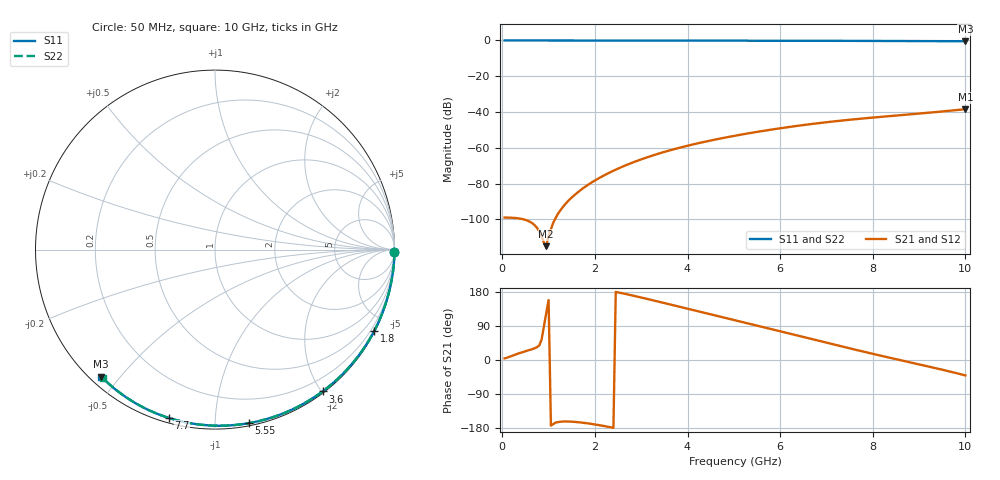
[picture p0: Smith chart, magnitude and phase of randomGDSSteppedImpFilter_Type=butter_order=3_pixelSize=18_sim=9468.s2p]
! freq	dB(S11)	phase(S11)	dB(S12)	phase(S12)
!  dB(S21)	phase(S21)	dB(S22)	phase(S22)
!S-par simulation data
#  GHz  S  DB  R 50
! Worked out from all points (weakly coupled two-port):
!   200 points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, 50 MHz to 10 GHz, reference 50 ohm
!   highest |S21| = -38.42 dB at 10 GHz (marker M1); lowest = -114.9 dB at 950 MHz (marker M2)
!   lowest |S11| = -0.4 dB at 10 GHz (marker M3), VSWR 39.16, Z = 1.53 - j22.3 ohm
!   |S11| at or under -10 dB: nowhere
!   |S22| runs from -0.4 to 0.0 dB; largest |S21 - S12| = 0
!   S11 on the Smith chart (normalised r, x): 50 MHz: open; 1.8 GHz: 0.04, -4.16; 3.6 GHz: 0.02, -2.01; 5.55 GHz: 0.02, -1.21; 7.7 GHz: 0.02, -0.76; 10 GHz: 0.03, -0.45
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0.05  -0.00 -0.8  -98.95 4.2  -98.95 4.2  -0.00 -0.8
0.5  -0.01 -7.6  -100.26 23.1  -100.26 23.1  -0.01 -7.6
0.95  -0.02 -14.4  -114.95 124.7  -114.95 124.7  -0.02 -14.3
1.75  -0.03 -26.3  -82.46 -165.7  -82.46 -165.7  -0.03 -26.1
1.8  -0.03 -27.0  -81.55 -166.5  -81.55 -166.5  -0.03 -26.9
1.9  -0.04 -28.5  -79.84 -168.2  -79.84 -168.2  -0.04 -28.3
2.05  -0.04 -30.7  -77.49 -171.1  -77.49 -171.1  -0.04 -30.5
2.25  -0.04 -33.6  -74.68 -175.4  -74.68 -175.4  -0.04 -33.4
2.65  -0.05 -39.4  -69.92 174.6  -69.92 174.6  -0.05 -39.2
3  -0.06 -44.4  -66.43 164.9  -66.43 164.9  -0.06 -44.1
3.4  -0.07 -50.0  -63.04 153.2  -63.04 153.2  -0.07 -49.7
3.6  -0.07 -52.8  -61.53 147.3  -61.53 147.3  -0.07 -52.5
3.9  -0.08 -57.0  -59.47 138.3  -59.47 138.3  -0.08 -56.6
4.3  -0.09 -62.4  -57.02 126.3  -57.02 126.3  -0.09 -62.1
5.05  -0.11 -72.4  -53.11 104.0  -53.11 104.0  -0.11 -72.0
5.55  -0.13 -78.9  -50.88 89.3  -50.88 89.3  -0.13 -78.5
6.1  -0.15 -85.9  -48.69 72.9  -48.69 72.9  -0.15 -85.4
6.7  -0.18 -93.3  -46.61 54.8  -46.61 54.8  -0.18 -92.8
7.7  -0.24 -105.4  -43.81 24.9  -43.81 24.9  -0.24 -104.8
8.35  -0.29 -113.0  -42.30 6.4  -42.30 6.4  -0.29 -112.3
9.15  -0.36 -122.2  -40.51 -15.7  -40.51 -15.7  -0.36 -121.5
10  -0.44 -131.8  -38.42 -40.8  -38.42 -40.8  -0.44 -131.1
